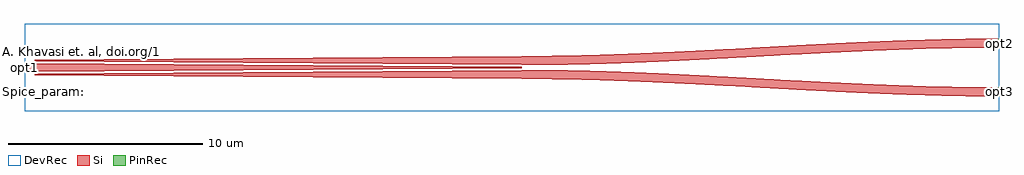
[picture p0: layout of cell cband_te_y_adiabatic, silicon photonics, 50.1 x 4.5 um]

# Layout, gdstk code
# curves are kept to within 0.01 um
import gdstk
lib = gdstk.Library(unit=1e-6, precision=1e-09)
def R(c, l, rs):  # rectangles x0, y0, x1, y1
    for r in rs: c.add(gdstk.rectangle(r[:2], r[2:], *l))
def P(c, l, *ps):  # polygons
    for p in ps: c.add(gdstk.Polygon(p, *l))
Si = (1, 0)
PinRec = (1, 10)
DevRec = (68, 0)

cband_te_y_adiabatic = lib.new_cell('cband_te_y_adiabatic')
P(cband_te_y_adiabatic, Si, [(25.55,0.13),(0.55,0.325),(0.55,0.385),(26.437,0.583),(28.485,0.615),(30.6,0.678),(32.989,0.777),(40.837,1.191),(44.181,1.346),(47.115,1.44),(50.05,1.475),(50.05,1.025),(47.388,0.996),(44.863,0.922),(41.792,0.789),(34.763,0.414),(31.59,0.266),(28.485,0.165)],
  [(49.743,-1.475),(47.115,-1.44),(44.181,-1.346),(40.837,-1.191),(32.989,-0.777),(30.6,-0.678),(28.485,-0.615),(26.437,-0.583),(0.55,-0.385),(0.55,-0.325),(25.55,-0.13),(28.485,-0.165),(30.6,-0.228),(32.989,-0.327),(40.837,-0.741),(44.181,-0.896),(47.115,-0.99),(50.05,-1.025),(50.05,-1.475)],
  [(0.05,-0.225),(0.05,0.225),(0.55,0.225),(25.55,0.03),(25.55,-0.03),(0.55,-0.225)])
R(cband_te_y_adiabatic, DevRec, [(0.05,-2.25,50.05,2.25)])
cband_te_y_adiabatic.add(gdstk.FlexPath([(0.1,0),(0,0)], 0.45, ends="flush", simple_path=True, layer=1, datatype=10))  # PinRec
cband_te_y_adiabatic.add(gdstk.FlexPath([(50,1.25),(50.1,1.25)], 0.45, ends="flush", simple_path=True, layer=1, datatype=10))  # PinRec
cband_te_y_adiabatic.add(gdstk.FlexPath([(50,-1.25),(50.1,-1.25)], 0.45, ends="flush", simple_path=True, layer=1, datatype=10))  # PinRec
cband_te_y_adiabatic.add(gdstk.Label('Spice_param:', (0.34,-1.25), layer=68, texttype=0))
cband_te_y_adiabatic.add(gdstk.Label('Lumerical_INTERCONNECT_library=Design kits/EBeam_CMLC', (0.34,-1.125), layer=68, texttype=0))
cband_te_y_adiabatic.add(gdstk.Label('Component=cband_te_y_adiabatic', (0.34,-1), layer=68, texttype=0))
cband_te_y_adiabatic.add(gdstk.Label('cellName=cband_te_y_adiabatic', (0.34,-0.875), layer=68, texttype=0))
cband_te_y_adiabatic.add(gdstk.Label('pinOrder:opt1 opt2 opt3', (0.34,-1.375), layer=68, texttype=0))
cband_te_y_adiabatic.add(gdstk.Label('A. Khavasi et. al, doi.org/10.1109/JSTQE.2019.2917501 ', (0.59,0.81), layer=68, texttype=0))
cband_te_y_adiabatic.add(gdstk.Label('opt3', (50.05,-1.25), layer=1, texttype=10))
cband_te_y_adiabatic.add(gdstk.Label('opt2', (50.05,1.25), layer=1, texttype=10))
cband_te_y_adiabatic.add(gdstk.Label('opt1', (0.05,0), layer=1, texttype=10))

lib.write_gds('cband_te_y_adiabatic.gds')
